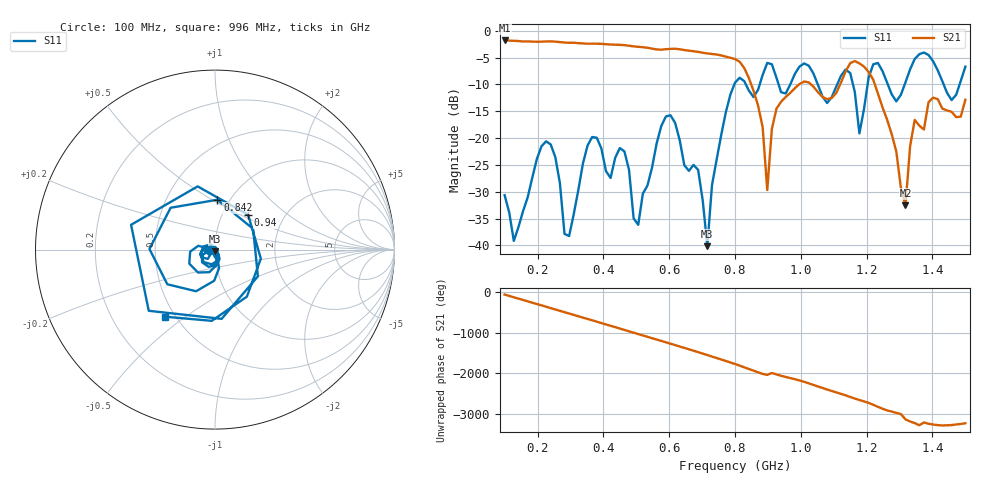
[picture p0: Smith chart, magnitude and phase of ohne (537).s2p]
! NanoVNA-App
! Date: 2025-09-25 14:24:59
! Start: 100MHz Stop: 1,5GHz Points: 101
! S-Parameter data: F S11 S21 S12 S22
# Hz S RI R 50
!  Frequency  S11_Real  S11_Imag  S21_Real  S21_Imag  S12_Real  S12_Imag  S22_Real  S22_Imag
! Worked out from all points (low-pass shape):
!   101 points, 100 MHz to 1.5 GHz, reference 50 ohm
!   highest |S21| = -1.79 dB at 100 MHz (marker M1); lowest = -32.5 dB at 1.318 GHz (marker M2)
!   |S21| within 3 dB of the highest: start of sweep to 771 MHz
!   lowest |S11| = -40.2 dB at 716 MHz (marker M3), VSWR 1.02, Z = 49.7 - j0.946 ohm
!   |S11| at or under -10 dB: start of sweep to 797.9 MHz; 833 MHz to 875.1 MHz (42.06 MHz wide, 4.92 % of centre); 1.052 GHz to 1.111 GHz (58.94 MHz wide, 5.45 % of centre) (the widest 3 of 7)
!   S12 and S22 are empty: the file has one direction only
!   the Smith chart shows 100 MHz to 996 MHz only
!   S11 on the Smith chart (normalised r, x): 100 MHz: 0.94, -0.01; 842 MHz: 0.88, +0.53; 940 MHz: 1.32, +0.55; 996 MHz: 0.44, -0.42
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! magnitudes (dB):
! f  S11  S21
! 100 MHz  -30.6  -1.8
! 128 MHz  -39.2  -1.9
! 226 MHz  -20.6  -2.0
! 296 MHz  -38.3  -2.2
! 338 MHz  -24.7  -2.3
! 464 MHz  -22.5  -2.7
! 506 MHz  -36.2  -3.0
! 576 MHz  -17.7  -3.5
! 688 MHz  -25.9  -3.9
! 716 MHz  -40.2  -4.2
! 800 MHz  -9.7  -5.3
! 842 MHz  -11.1  -8.8
! 898 MHz  -6.0  -29.7
! 940 MHz  -11.4  -13.2
! 996 MHz  -6.7  -9.9
! 1.038 GHz  -7.9  -10.4
! 1.178 GHz  -19.1  -6.1
! 1.22 GHz  -6.2  -9.1
! 1.276 GHz  -11.8  -19.2
! 1.318 GHz  -9.6  -32.5
! 1.346 GHz  -5.3  -16.6
! 1.5 GHz  -6.7  -12.8
